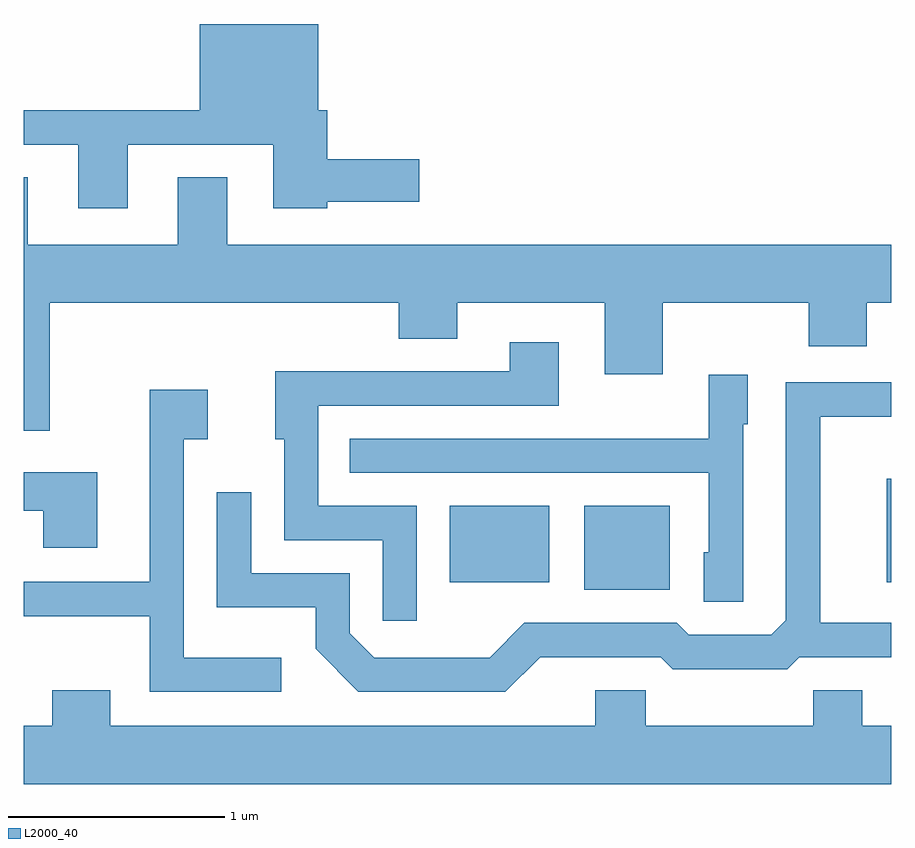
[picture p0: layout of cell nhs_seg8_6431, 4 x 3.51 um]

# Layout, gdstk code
import gdstk
lib = gdstk.Library(unit=1e-6, precision=1e-09)
def R(c, l, rs):  # rectangles x0, y0, x1, y1
    for r in rs: c.add(gdstk.rectangle(r[:2], r[2:], *l))
def P(c, l, *ps):  # polygons
    for p in ps: c.add(gdstk.Polygon(p, *l))
L2000_40 = (2000, 40)

nhs_seg8_6431 = lib.new_cell('nhs_seg8_6431')
R(nhs_seg8_6431, L2000_40, [(380.196,1861.731,380.589,1862.119), (379.576,1861.766,380.034,1862.119), (381.591,1861.766,381.611,1862.244)])
P(nhs_seg8_6431, L2000_40, [(378.089,1863.786),(378.761,1863.786),(378.761,1863.491),(379.009,1863.491),(379.009,1863.521),(379.434,1863.521),(379.434,1863.719),(379.009,1863.719),(379.009,1863.944),(378.969,1863.944),(378.969,1864.342),(378.421,1864.342),(378.421,1863.944),(377.611,1863.944),(377.611,1863.786),(377.861,1863.786),(377.861,1863.491),(378.089,1863.491)],
  [(377.729,1863.056),(379.341,1863.056),(379.341,1862.891),(379.609,1862.891),(379.609,1863.056),(380.291,1863.056),(380.291,1862.726),(380.559,1862.726),(380.559,1863.056),(381.231,1863.056),(381.231,1862.856),(381.499,1862.856),(381.499,1863.056),(381.611,1863.056),(381.611,1863.324),(378.549,1863.324),(378.549,1863.634),(378.321,1863.634),(378.321,1863.324),(377.629,1863.324),(377.629,1863.634),(377.611,1863.634),(377.611,1862.466),(377.729,1862.466)],
  [(379.424,1862.119),(378.969,1862.119),(378.969,1862.581),(380.079,1862.581),(380.079,1862.874),(379.851,1862.874),(379.851,1862.739),(378.771,1862.739),(378.771,1862.426),(378.811,1862.426),(378.811,1861.961),(379.266,1861.961),(379.266,1861.588),(379.424,1861.588)],
  [(380.929,1862.496),(380.949,1862.496),(380.949,1862.724),(380.771,1862.724),(380.771,1862.429),(379.113,1862.429),(379.113,1862.271),(380.771,1862.271),(380.771,1861.904),(380.746,1861.904),(380.746,1861.676),(380.929,1861.676)],
  [(379.992,1861.421),(380.549,1861.421),(380.604,1861.366),(381.132,1861.366),(381.187,1861.421),(381.611,1861.421),(381.611,1861.579),(381.284,1861.579),(381.284,1862.531),(381.611,1862.531),(381.611,1862.689),(381.126,1862.689),(381.126,1861.592),(381.059,1861.524),(380.677,1861.524),(380.622,1861.579),(379.919,1861.579),(379.759,1861.419),(379.227,1861.419),(379.114,1861.532),(379.114,1861.809),(378.659,1861.809),(378.659,1862.183),(378.501,1862.183),(378.501,1861.651),(378.956,1861.651),(378.956,1861.459),(379.154,1861.261),(379.832,1861.261)],
  [(378.798,1861.419),(378.349,1861.419),(378.349,1862.426),(378.459,1862.426),(378.459,1862.654),(378.191,1862.654),(378.191,1861.769),(377.611,1861.769),(377.611,1861.611),(378.191,1861.611),(378.191,1861.261),(378.798,1861.261)],
  [(377.949,1862.274),(377.611,1862.274),(377.611,1862.096),(377.701,1862.096),(377.701,1861.926),(377.949,1861.926)],
  [(381.611,1861.104),(381.479,1861.104),(381.479,1861.269),(381.251,1861.269),(381.251,1861.104),(380.479,1861.104),(380.479,1861.269),(380.246,1861.269),(380.246,1861.104),(378.009,1861.104),(378.009,1861.269),(377.741,1861.269),(377.741,1861.104),(377.611,1861.104),(377.611,1860.836),(381.611,1860.836)])

lib.write_gds('nhs_seg8_6431.gds')
